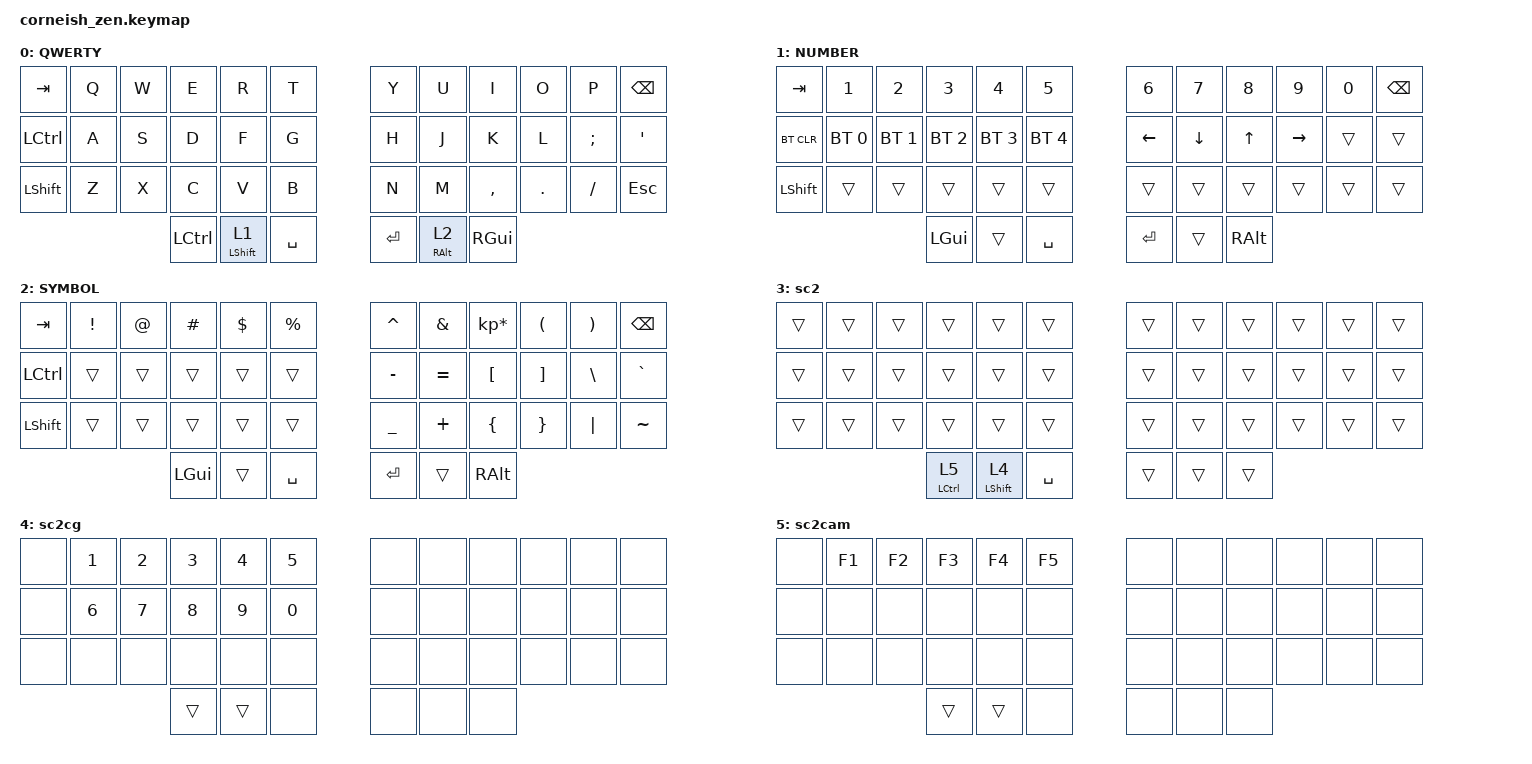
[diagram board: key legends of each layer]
#include <behaviors.dtsi>
#include <dt-bindings/zmk/keys.h>
#include <dt-bindings/zmk/bt.h>

&sl {
    /delete-property/ quick-release;

    release-after-ms = <5000>;
};

/ {
    chosen {
        zmk,matrix_transform = &default_transform;

        //zmk,matrix_transform = &five_column_transform;
    };
};

/ {
    combos {
        compatible = "zmk,combos";

        layers {
            bindings = <&to 3>;
            key-positions = <40 14>;
        };

        layerd {
            bindings = <&to 0>;
            key-positions = <40 15>;
        };
    };

    behaviors {
        hold_tog: behavior_hold_tog {
            compatible = "zmk,behavior-hold-tap";
            label = "hold_tog";
            #binding-cells = <2>;
            flavor = "tap-preferred";
            tapping-term-ms = <300>;
            quick-tap-ms = <100>;
            bindings =
                <&kp>,
                <&sl>;
        };
    };

    keymap {
        compatible = "zmk,keymap";

        default_layer {
            label = "QWERTY";

            // -----------------------------------------------------------------------------------------
            // |  TAB |  Q  |  W  |  E  |  R  |  T  |   |  Y  |  U   |  I  |  O  |  P  | BKSP |
            // | CTRL |  A  |  S  |  D  |  F  |  G  |   |  H  |  J   |  K  |  L  |  ;  |  '   |
            // | SHFT |  Z  |  X  |  C  |  V  |  B  |   |  N  |  M   |  ,  |  .  |  /  | ESC  |
            //                    | GUI | LWR | SPC |   | ENT | RSE  | ALT |

            bindings = <
  &kp TAB  &kp Q  &kp W      &kp E              &kp R      &kp T      &kp Y             &kp U          &kp I    &kp O     &kp P  &kp BSPC
&kp LCTRL  &kp A  &kp S      &kp D              &kp F      &kp G      &kp H             &kp J          &kp K    &kp L  &kp SEMI   &kp SQT
&kp LSHFT  &kp Z  &kp X      &kp C              &kp V      &kp B      &kp N             &kp M      &kp COMMA  &kp DOT  &kp FSLH   &kp ESC
                         &kp LCTRL  &hold_tog LSHFT 1  &kp SPACE    &kp RET  &hold_tog RALT 2  &kp RIGHT_GUI
            >;
        };

        numbers {
            label = "NUMBER";

            // -----------------------------------------------------------------------------------------
            // |  TAB |  1  |  2  |  3  |  4  |  5  |   |  6  |  7  |  8  |  9  |  0  | BKSP |
            // | BTCLR| BT1 | BT2 | BT3 | BT4 | BT5 |   | LFT | DWN |  UP | RGT |     |      |
            // | SHFT |     |     |     |     |     |   |     |     |     |     |     |      |
            //                    | GUI |     | SPC |   | ENT |     | ALT |

            bindings = <
   &kp TAB        &kp N1        &kp N2        &kp N3        &kp N4        &kp N5      &kp N6    &kp N7    &kp N8     &kp N9  &kp N0  &kp BSPC
&bt BT_CLR  &bt BT_SEL 0  &bt BT_SEL 1  &bt BT_SEL 2  &bt BT_SEL 3  &bt BT_SEL 4    &kp LEFT  &kp DOWN    &kp UP  &kp RIGHT  &trans    &trans
 &kp LSHFT        &trans        &trans        &trans        &trans        &trans      &trans    &trans    &trans     &trans  &trans    &trans
                                            &kp LGUI        &trans     &kp SPACE     &kp RET    &trans  &kp RALT
            >;
        };

        symbols {
            label = "SYMBOL";

            // -----------------------------------------------------------------------------------------
            // |  TAB |  !  |  @  |  #  |  $  |  %  |   |  ^  |  &  |  *  |  (  |  )  | BKSP |
            // | CTRL |     |     |     |     |     |   |  -  |  =  |  [  |  ]  |  \  |  `   |
            // | SHFT |     |     |     |     |     |   |  _  |  +  |  {  |  }  | "|" |  ~   |
            //                    | GUI |     | SPC |   | ENT |     | ALT |

            bindings = <
  &kp TAB  &kp EXCL  &kp AT  &kp HASH  &kp DLLR  &kp PRCNT    &kp CARET   &kp AMPS  &kp KP_MULTIPLY  &kp LPAR  &kp RPAR   &kp BSPC
&kp LCTRL    &trans  &trans    &trans    &trans     &trans    &kp MINUS  &kp EQUAL         &kp LBKT  &kp RBKT  &kp BSLH  &kp GRAVE
&kp LSHFT    &trans  &trans    &trans    &trans     &trans    &kp UNDER   &kp PLUS         &kp LBRC  &kp RBRC  &kp PIPE  &kp TILDE
                             &kp LGUI    &trans  &kp SPACE      &kp RET     &trans         &kp RALT
            >;
        };

        sc2 {
            label = "sc2";
            bindings = <
&trans  &trans  &trans             &trans              &trans     &trans    &trans  &trans  &trans  &trans  &trans  &trans
&trans  &trans  &trans             &trans              &trans     &trans    &trans  &trans  &trans  &trans  &trans  &trans
&trans  &trans  &trans             &trans              &trans     &trans    &trans  &trans  &trans  &trans  &trans  &trans
                        &hold_tog LCTRL 5  &hold_tog LSHIFT 4  &kp SPACE    &trans  &trans  &trans
            >;
        };

        sc2cg {
            label = "sc2cg";
            bindings = <
&none  &kp N1  &kp N2  &kp N3  &kp N4  &kp N5    &none  &none  &none  &none  &none  &none
&none  &kp N6  &kp N7  &kp N8  &kp N9  &kp N0    &none  &none  &none  &none  &none  &none
&none   &none   &none   &none   &none   &none    &none  &none  &none  &none  &none  &none
                       &trans  &trans   &none    &none  &none  &none
            >;
        };

        sc2cam {
            bindings = <
&none  &kp F1  &kp F2  &kp F3  &kp F4  &kp F5    &none  &none  &none  &none  &none  &none
&none   &none   &none   &none   &none   &none    &none  &none  &none  &none  &none  &none
&none   &none   &none   &none   &none   &none    &none  &none  &none  &none  &none  &none
                       &trans  &trans   &none    &none  &none  &none
            >;
        };
    };
};
